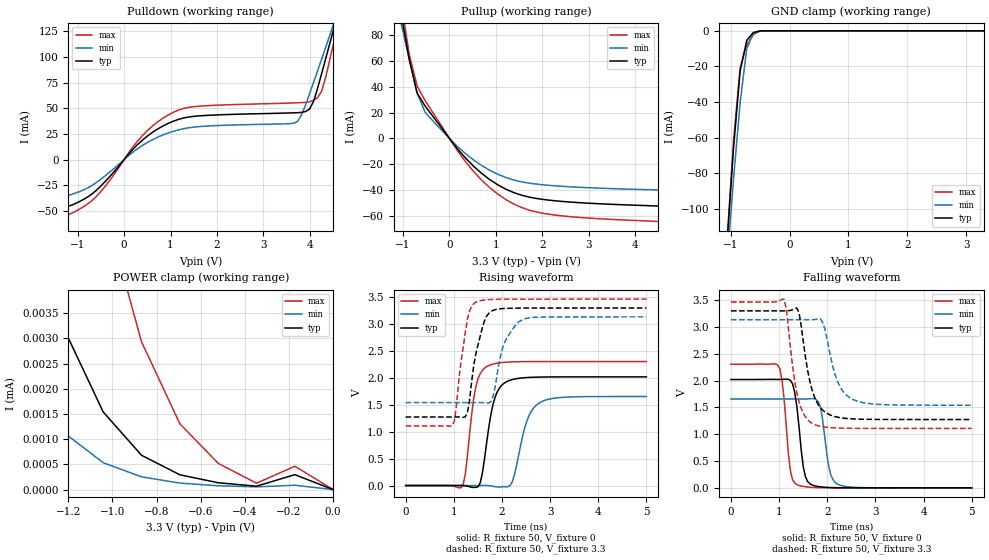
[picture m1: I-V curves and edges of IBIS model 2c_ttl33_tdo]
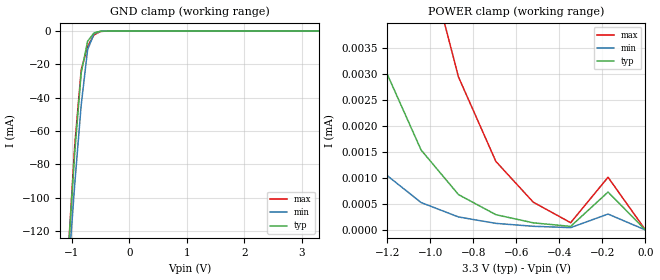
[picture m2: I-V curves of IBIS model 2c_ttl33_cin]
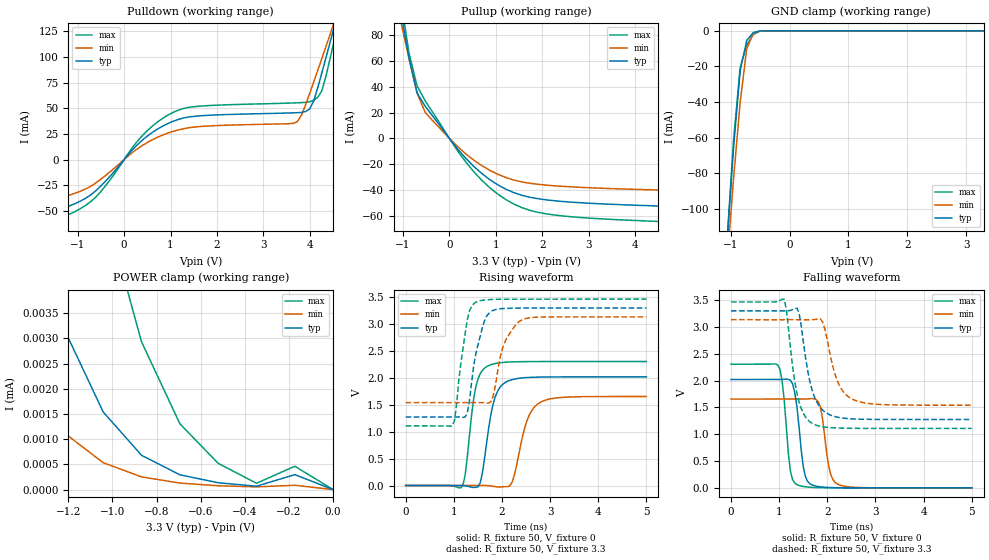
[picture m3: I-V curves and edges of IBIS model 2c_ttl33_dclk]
[IBIS Ver] 3.2
[File Name] exmachine.ibs
[File Rev] 1.6
[Date] November 02, 2013
[Source] Altera, Quartus II 64-Bit 13.0
[Notes]
| The models are designated as "Final" and have been
| correlated against physical device operation.
Unused IOs which have been assigned as tri-stated inputs or
as outputs driving any signal in Quartus II are represented by the NC.
[Disclaimer] Data is for modeling purposes only and is not guaranteed.
[Copyright] Copyright (C) 1991-2013 Altera Corporation
[Component] EP2C5T144C8_exmachine
[Manufacturer]  Altera Corporation
[Package]
| RLC values are for 144 TQFP package
|variable  typ  min  max
R_pkg  166.00m   155.00m   174.00m
L_pkg  8.15nH   7.70nH   10.72nH
C_pkg  0.61pF   0.58pF   0.76pF
[Pin]  signal_name   model_name   R_pin   L_pin   C_pin
5   VCCIO1   POWER
6   GND   GND
10   TDO   2c_ttl33_tdo
11   TMS   2c_ttl33_cin
12   TCK   2c_ttl33_cin
13   TDI   2c_ttl33_cin
14   DATA0   2c_ttl33_cin
15   DCLK   2c_ttl33_dclk
16   nCE   2c_ttl33_cin
17   H   2c_ttl33_rin
19   GND   GND
20   nCONFIG   2c_ttl33_cin
23   VCCIO1   POWER
24   DIRBUF2   2c_ttl33_rio_d24
25   DIRBUF1   2c_ttl33_rio_d24
27   ADDR[0]   2c_ttl33_rin
29   VCCIO1   POWER
31   ADDR[1]   2c_ttl33_rin
32   ADDR[2]   2c_ttl33_rin
33   GND   GND
34   GND_PLL1   GND
35   VCCD_PLL1   POWER
36   GND_PLL1   GND
37   VCCA_PLL1   POWER
38   NC   NC
39   GND   GND
40   ADDR[3]   2c_ttl33_cin
41   ADDR[4]   2c_ttl33_cin
42   ADDR[5]   2c_ttl33_cin
43   ADDR[6]   2c_ttl33_cin
44   ADDR[7]   2c_ttl33_cin
46   VCCIO4   POWER
48   DATA[7]   2c_ttl33_cio_d24
49   GND   GND
50   VCCINT   POWER
52   DATA[6]   2c_ttl33_cio_d24
54   VCCIO4   POWER
56   GND   GND
57   DATA[5]   2c_ttl33_cio_d24
58   DATA[4]   2c_ttl33_cio_d24
59   DATA[3]   2c_ttl33_cio_d24
60   DATA[2]   2c_ttl33_cio_d24
61   GND   GND
62   VCCINT   POWER
64   DATA[1]   2c_ttl33_cio_d24
65   DATA[0]   2c_ttl33_cio_d24
66   VCCIO4   POWER
67   RD   2c_ttl33_cin
68   GND   GND
69   WR   2c_ttl33_cin
70   ALE   2c_ttl33_cin
73   CODEUR1[1]   2c_ttl33_rin
74   CODEUR1[0]   2c_ttl33_rin
75   CODEUR2[1]   2c_ttl33_rin
76   CODEUR2[0]   2c_ttl33_rin
77   VCCIO3   POWER
78   GND   GND
81   CODEUR3[1]   2c_ttl33_rin
82   nSTATUS   2c_ttl33_nstatus
83   CONF_DONE   2c_ttl33_cfdone
84   MSEL1   2c_ttl33_cin
85   MSEL0   2c_ttl33_cin
86   CODEUR3[0]   2c_ttl33_rin
87   CODEUR4[1]   2c_ttl33_rin
88   RESET   2c_ttl33_rin
92   CODEUR4[0]   2c_ttl33_rin
93   MOT1[0]   2c_ttl33_rio_d24
95   VCCIO3   POWER
96   MOT1[1]   2c_ttl33_rio_d24
97   LED   2c_ttl33_rio_d24
98   GND   GND
99   MOT2[0]   2c_ttl33_rio_d24
100   MOT2[1]   2c_ttl33_rio_d24
101   SERVO[15]   2c_ttl33_rio_d24
102   VCCIO3   POWER
103   SERVO[14]   2c_ttl33_rio_d24
104   SERVO[13]   2c_ttl33_rio_d24
105   GND   GND
106   GND_PLL2   GND
107   VCCD_PLL2   POWER
108   GND_PLL2   GND
109   VCCA_PLL2   POWER
110   NC   NC
111   GND   GND
112   SERVO[12]   2c_ttl33_cio_d24
113   SERVO[11]   2c_ttl33_cio_d24
114   SERVO[10]   2c_ttl33_cio_d24
115   SERVO[9]   2c_ttl33_cio_d24
116   VCCIO2   POWER
117   GND   GND
120   SERVO[8]   2c_ttl33_cio_d24
121   SERVO[7]   2c_ttl33_cio_d24
122   SERVO[6]   2c_ttl33_cio_d24
123   GND   GND
124   VCCINT   POWER
125   SERVO[5]   2c_ttl33_cio_d24
127   VCCIO2   POWER
128   GND   GND
129   SERVO[4]   2c_ttl33_cio_d24
130   GND   GND
131   VCCINT   POWER
133   SERVO[3]   2c_ttl33_cio_d24
134   SERVO[2]   2c_ttl33_cio_d24
136   SERVO[1]   2c_ttl33_cio_d24
138   VCCIO2   POWER
140   GND   GND
141   SERVO[0]   2c_ttl33_cio_d24
| Models and submodels in the file (8): 2c_ttl33_tdo (Output), 2c_ttl33_cin (Input), 2c_ttl33_dclk (I/O), 2c_ttl33_rin (Input), 2c_ttl33_rio_d24 (I/O), 2c_ttl33_cio_d24 (I/O), 2c_ttl33_nstatus (I/O_open_drain), 2c_ttl33_cfdone (I/O_open_drain)
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[Model] 2c_ttl33_tdo
Model_type Output
Vmeas = 1.5675V
Rref  = 1M
Cref  = 0pF
Vref  = 0V
C_comp  3.8pF   NA   NA
[Temperature Range] 25   85   0
[Voltage Range]   3.3   3.135   3.465
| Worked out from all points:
|   slope of the pulldown table from 0 to 0.495 V, typ, clamps not added: 21.8 ohm
|   slope of the pullup table from 0 to 0.495 V, typ, clamps not added: 24 ohm
|   GND clamp passes 1 mA (typ) near -0.62 V on its own axis
|   rising waveform, R_fixture 50, V_fixture 0: 20-80 % time 227ps typ, 283ps min, 189ps max; typ from 0 V to 2.02 V
|   falling waveform, R_fixture 50, V_fixture 0: 20-80 % time 149ps typ, 155ps min, 135ps max; typ from 2.02 V to 0 V
|   rising waveform, R_fixture 50, V_fixture 3.3: 20-80 % time 243ps typ, 290ps min, 200ps max; typ from 1.27 V to 3.3 V
|   falling waveform, R_fixture 50, V_fixture 3.3: 20-80 % time 265ps typ, 297ps min, 231ps max; typ from 3.3 V to 1.27 V
[GND Clamp]
| voltage   I (typ)   I (min)   I (max)
-3.3V     -1.379A    -1.218A    -1.475A
-1.063V   -119.5mA   -130.7mA   -118.6mA
-950.8mV  -65.61mA   -83.07mA   -61.36mA
-839mV    -22.42mA   -40.22mA   -20.68mA
-727.1mV  -5.406mA   -10.03mA   -7.969mA
-615.2mV  -953.2uA   -1.404mA   -2.067mA
-503.4mV  -74.89uA   -141.3uA   -180.2uA
-391.5mV  -3.887uA   -8.056uA   -7.422uA
3.3V      9.506nA    162.7nA    -15.59nA
[Pulldown]
| voltage   I (typ)   I (min)   I (max)
-3.3V     -55mA      -43.5mA    -62mA
-1.958V   -53.99mA   -41.93mA   -63.1mA
-1.063V   -43.09mA   -32.87mA   -50.85mA
-503.4mV  -25.88mA   -19.22mA   -31.32mA
503.4mV   23.02mA    16.76mA    28.38mA
1.175V    39.25mA    29mA       48.35mA
3.647V    45.56mA    35.32mA    55.23mA
3.995V    49.34mA    64.53mA    56.37mA
4.168V    70.08mA    86.98mA    60.63mA
4.516V    128.1mA    133.1mA    114.8mA
4.603V    142.7mA    144.8mA    132mA
6.6V      483.6mA    425.8mA    528.2mA
[POWER Clamp]
| voltage   I (typ)   I (min)   I (max)
-3.3V     85.54uA    53.94uA    123.1uA
-1.563V   9.367uA    3.921uA    20.9uA
-1.389V   5.741uA    2.184uA    14.76uA
-1.216V   3.156uA    1.117uA    9.675uA
-1.042V   1.542uA    534.4nA    5.706uA
-868.4mV  681.9nA    253.2nA    2.935uA
-694.7mV  294.1nA    129.7nA    1.307uA
-521.1mV  136.2nA    76.02nA    522nA
-347.4mV  67.51nA    54.2nA     126.3nA
-173.7mV  296.7nA    86.25nA    463.4nA
0V        0A         0A         0A
[Pullup]
| voltage   I (typ)   I (min)   I (max)
-3.3V     540.1mA    459.8mA    612.7mA
-1.042V   97.3mA     89.83mA    106.8mA
-868.4mV  62.17mA    61.83mA    66.03mA
-694.7mV  35.17mA    35.1mA     40.62mA
-521.1mV  24.98mA    20.11mA    29.15mA
173.7mV   -8.049mA   -6.256mA   -9.513mA
521.1mV   -21.57mA   -16.74mA   -25.63mA
1.042V    -35.97mA   -27.77mA   -43.16mA
1.563V    -44.12mA   -33.76mA   -53.66mA
2.084V    -47.6mA    -36.2mA    -58.45mA
2.779V    -49.75mA   -37.85mA   -61.17mA
6.6V      -56mA      -43mA      -67.9mA
[Ramp]
dV/dt_r   1.216e+000/2.430e-010  9.558e-001/2.897e-010  1.414e+000/1.999e-010
dV/dt_f   1.216e+000/2.649e-010  9.558e-001/2.971e-010  1.414e+000/2.307e-010
R_load = 50ohms
[Rising Waveform]
R_fixture   = 50
V_fixture   = 0
V_fixture_min = 0
V_fixture_max = 0
| time   V (typ)   V (min)   V (max)
0s        0V         0V         0V
1.193ns   -482.4uV   -145.4uV   12.16mV
1.459ns   -34.32mV   -44.8uV    1.841V
1.592ns   225.3mV    354.7uV    2.139V
1.725ns   1.072V     -1.981mV   2.23V
1.902ns   1.74V      -26.7mV    2.274V
2.168ns   1.957V     -1.629mV   2.297V
2.522ns   2.007V     1.212V     2.303V
2.788ns   2.016V     1.542V     2.305V
5ns       2.02V      1.655V     2.305V
[Falling Waveform]
R_fixture   = 50
V_fixture   = 0
V_fixture_min = 0
V_fixture_max = 0
| time   V (typ)   V (min)   V (max)
0s        2.02V      1.655V     2.305V
1.016ns   2.021V     1.657V     2.219V
1.237ns   2.002V     1.657V     301.8mV
1.37ns    1.506V     1.657V     60.13mV
1.503ns   387.1mV    1.656V     25.91mV
1.68ns    55.56mV    1.664V     9.435mV
1.858ns   19.09mV    1.506V     3.439mV
2.035ns   7.213mV    381.8mV    1.233mV
2.212ns   2.715mV    70mV       428.1uV
5ns       0V         -12.26uV   -1.083uV
[Rising Waveform]
R_fixture   = 50
V_fixture   = 3.3
V_fixture_min = 3.135
V_fixture_max = 3.465
| time   V (typ)   V (min)   V (max)
0s        1.274V     1.542V     1.108V
971.5ps   1.274V     1.541V     1.113V
1.016ns   1.274V     1.541V     1.218V
1.282ns   1.355V     1.541V     3.088V
1.459ns   2.454V     1.541V     3.409V
1.725ns   3.198V     1.533V     3.455V
1.813ns   3.255V     1.649V     3.459V
2.035ns   3.291V     2.613V     3.463V
2.389ns   3.298V     3.066V     3.464V
5ns       3.3V       3.135V     3.465V
[Falling Waveform]
R_fixture   = 50
V_fixture   = 3.3
V_fixture_min = 3.135
V_fixture_max = 3.465
| time   V (typ)   V (min)   V (max)
0s        3.3V       3.135V     3.465V
1.104ns   3.299V     3.135V     3.518V
1.149ns   3.3V       3.135V     3.34V
1.326ns   3.339V     3.135V     1.978V
1.415ns   3.26V      3.134V     1.601V
1.68ns    1.838V     3.135V     1.206V
1.902ns   1.452V     3.091V     1.14V
2.212ns   1.317V     1.99V      1.116V
2.522ns   1.286V     1.653V     1.11V
5ns       1.274V     1.542V     1.108V
[Model] 2c_ttl33_cin
Model_type Input
Vinl  = 0.8V
Vinh  = 1.7V
C_comp  3.8pF   NA   NA
[Temperature Range] 25   85   0
[Voltage Range]   3.3   3.135   3.465
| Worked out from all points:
|   GND clamp passes 1 mA (typ) near -0.61 V on its own axis
[GND Clamp]
| voltage   I (typ)   I (min)   I (max)
-3.3V     -1.525A    -1.347A    -1.631A
-1.063V   -132.4mA   -144.4mA   -131.8mA
-950.8mV  -72.91mA   -91.85mA   -68.52mA
-839mV    -25.14mA   -44.53mA   -23.44mA
-727.1mV  -6.162mA   -11.17mA   -9.106mA
-615.2mV  -1.09mA    -1.592mA   -2.362mA
-503.4mV  -85.58uA   -161.1uA   -206uA
-391.5mV  -4.442uA   -9.192uA   -8.484uA
3.3V      11.77nA    322.6nA    -115.7nA
[POWER Clamp]
| voltage   I (typ)   I (min)   I (max)
-3.3V     85.54uA    53.92uA    123.2uA
-1.563V   9.367uA    3.905uA    20.91uA
-1.389V   5.739uA    2.168uA    14.78uA
-1.216V   3.156uA    1.102uA    9.69uA
-1.042V   1.541uA    528.8nA    5.723uA
-868.4mV  681.9nA    251nA      2.949uA
-694.7mV  294.9nA    127.2nA    1.321uA
-521.1mV  137.5nA    71nA       535.5nA
-347.4mV  69.4nA     45.46nA    140.2nA
-173.7mV  730.6nA    306.9nA    1.016uA
0V        0A         0A         0A
[Model] 2c_ttl33_dclk
Model_type I/O
Vinl  = 0.8V
Vinh  = 1.7V
Vmeas = 1.5675V
Rref  = 1M
Cref  = 0pF
Vref  = 0V
C_comp  3.8pF   NA   NA
[Temperature Range] 25   85   0
[Voltage Range]   3.3   3.135   3.465
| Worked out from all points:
|   slope of the pulldown table from 0 to 0.495 V, typ, clamps not added: 21.8 ohm
|   slope of the pullup table from 0 to 0.495 V, typ, clamps not added: 24 ohm
|   GND clamp passes 1 mA (typ) near -0.62 V on its own axis
|   rising waveform, R_fixture 50, V_fixture 0: 20-80 % time 227ps typ, 283ps min, 189ps max; typ from 0 V to 2.02 V
|   falling waveform, R_fixture 50, V_fixture 0: 20-80 % time 149ps typ, 155ps min, 135ps max; typ from 2.02 V to 0 V
|   rising waveform, R_fixture 50, V_fixture 3.3: 20-80 % time 243ps typ, 290ps min, 200ps max; typ from 1.27 V to 3.3 V
|   falling waveform, R_fixture 50, V_fixture 3.3: 20-80 % time 265ps typ, 297ps min, 231ps max; typ from 3.3 V to 1.27 V
[GND Clamp]
| voltage   I (typ)   I (min)   I (max)
-3.3V     -1.379A    -1.218A    -1.475A
-1.063V   -119.5mA   -130.7mA   -118.6mA
-950.8mV  -65.61mA   -83.07mA   -61.36mA
-839mV    -22.42mA   -40.22mA   -20.68mA
-727.1mV  -5.406mA   -10.03mA   -7.969mA
-615.2mV  -953.2uA   -1.404mA   -2.067mA
-503.4mV  -74.89uA   -141.3uA   -180.2uA
-391.5mV  -3.887uA   -8.056uA   -7.422uA
3.3V      9.506nA    162.7nA    -15.59nA
[Pulldown]
| voltage   I (typ)   I (min)   I (max)
-3.3V     -55mA      -43.5mA    -62mA
-1.958V   -53.99mA   -41.93mA   -63.1mA
-1.063V   -43.09mA   -32.87mA   -50.85mA
-503.4mV  -25.88mA   -19.22mA   -31.32mA
503.4mV   23.02mA    16.76mA    28.38mA
1.175V    39.25mA    29mA       48.35mA
3.647V    45.56mA    35.32mA    55.23mA
3.995V    49.34mA    64.53mA    56.37mA
4.168V    70.08mA    86.98mA    60.63mA
4.516V    128.1mA    133.1mA    114.8mA
4.603V    142.7mA    144.8mA    132mA
6.6V      483.6mA    425.8mA    528.2mA
[POWER Clamp]
| voltage   I (typ)   I (min)   I (max)
-3.3V     85.54uA    53.94uA    123.1uA
-1.563V   9.367uA    3.921uA    20.9uA
-1.389V   5.741uA    2.184uA    14.76uA
-1.216V   3.156uA    1.117uA    9.675uA
-1.042V   1.542uA    534.4nA    5.706uA
-868.4mV  681.9nA    253.2nA    2.935uA
-694.7mV  294.1nA    129.7nA    1.307uA
-521.1mV  136.2nA    76.02nA    522nA
-347.4mV  67.51nA    54.2nA     126.3nA
-173.7mV  296.7nA    86.25nA    463.4nA
0V        0A         0A         0A
[Pullup]
| voltage   I (typ)   I (min)   I (max)
-3.3V     540.1mA    459.8mA    612.7mA
-1.042V   97.3mA     89.83mA    106.8mA
-868.4mV  62.17mA    61.83mA    66.03mA
-694.7mV  35.17mA    35.1mA     40.62mA
-521.1mV  24.98mA    20.11mA    29.15mA
173.7mV   -8.049mA   -6.256mA   -9.513mA
521.1mV   -21.57mA   -16.74mA   -25.63mA
1.042V    -35.97mA   -27.77mA   -43.16mA
1.563V    -44.12mA   -33.76mA   -53.66mA
2.084V    -47.6mA    -36.2mA    -58.45mA
2.779V    -49.75mA   -37.85mA   -61.17mA
6.6V      -56mA      -43mA      -67.9mA
[Ramp]
dV/dt_r   1.216e+000/2.430e-010  9.558e-001/2.897e-010  1.414e+000/1.999e-010
dV/dt_f   1.216e+000/2.649e-010  9.558e-001/2.971e-010  1.414e+000/2.307e-010
R_load = 50ohms
[Rising Waveform]
R_fixture   = 50
V_fixture   = 0
V_fixture_min = 0
V_fixture_max = 0
| time   V (typ)   V (min)   V (max)
0s        0V         0V         0V
1.193ns   -482.4uV   -145.4uV   12.16mV
1.459ns   -34.32mV   -44.8uV    1.841V
1.592ns   225.3mV    354.7uV    2.139V
1.725ns   1.072V     -1.981mV   2.23V
1.902ns   1.74V      -26.7mV    2.274V
2.168ns   1.957V     -1.629mV   2.297V
2.522ns   2.007V     1.212V     2.303V
2.788ns   2.016V     1.542V     2.305V
5ns       2.02V      1.655V     2.305V
[Falling Waveform]
R_fixture   = 50
V_fixture   = 0
V_fixture_min = 0
V_fixture_max = 0
| time   V (typ)   V (min)   V (max)
0s        2.02V      1.655V     2.305V
1.016ns   2.021V     1.657V     2.219V
1.237ns   2.002V     1.657V     301.8mV
1.37ns    1.506V     1.657V     60.13mV
1.503ns   387.1mV    1.656V     25.91mV
1.68ns    55.56mV    1.664V     9.435mV
1.858ns   19.09mV    1.506V     3.439mV
2.035ns   7.213mV    381.8mV    1.233mV
2.212ns   2.715mV    70mV       428.1uV
5ns       0V         -12.26uV   -1.083uV
[Rising Waveform]
R_fixture   = 50
V_fixture   = 3.3
V_fixture_min = 3.135
V_fixture_max = 3.465
| time   V (typ)   V (min)   V (max)
0s        1.274V     1.542V     1.108V
971.5ps   1.274V     1.541V     1.113V
1.016ns   1.274V     1.541V     1.218V
1.282ns   1.355V     1.541V     3.088V
1.459ns   2.454V     1.541V     3.409V
1.725ns   3.198V     1.533V     3.455V
1.813ns   3.255V     1.649V     3.459V
2.035ns   3.291V     2.613V     3.463V
2.389ns   3.298V     3.066V     3.464V
5ns       3.3V       3.135V     3.465V
[Falling Waveform]
R_fixture   = 50
V_fixture   = 3.3
V_fixture_min = 3.135
V_fixture_max = 3.465
| time   V (typ)   V (min)   V (max)
0s        3.3V       3.135V     3.465V
1.104ns   3.299V     3.135V     3.518V
1.149ns   3.3V       3.135V     3.34V
1.326ns   3.339V     3.135V     1.978V
1.415ns   3.26V      3.134V     1.601V
1.68ns    1.838V     3.135V     1.206V
1.902ns   1.452V     3.091V     1.14V
2.212ns   1.317V     1.99V      1.116V
2.522ns   1.286V     1.653V     1.11V
5ns       1.274V     1.542V     1.108V
